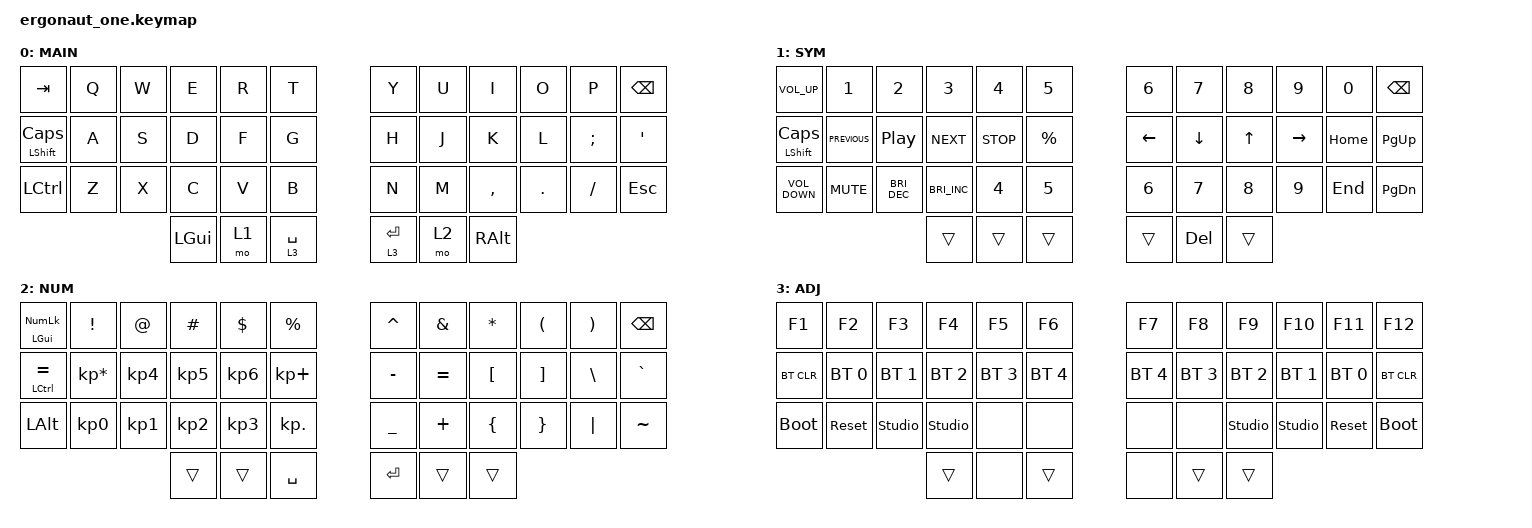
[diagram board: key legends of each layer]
#include <behaviors.dtsi>
#include <dt-bindings/zmk/bt.h>
#include <dt-bindings/zmk/keys.h>

#define DEF 0
#define LWR 1
#define RSE 2
#define ADJ 3

&lt { quick-tap-ms = <200>; };

&mt { quick-tap-ms = <200>; };

/ {
    conditional_layers { compatible = "zmk,conditional-layers"; };

    keymap {
        compatible = "zmk,keymap";

        default_layer {
            display-name = "MAIN";
            bindings = <
&kp TAB              &kp Q  &kp W  &kp E     &kp R  &kp T        &kp Y        &kp U  &kp I      &kp O    &kp P     &kp BSPC
&mt LEFT_SHIFT CLCK  &kp A  &kp S  &kp D     &kp F  &kp G        &kp H        &kp J  &kp K      &kp L    &kp SEMI  &kp SQT
&kp LCTRL            &kp Z  &kp X  &kp C     &kp V  &kp B        &kp N        &kp M  &kp COMMA  &kp DOT  &kp FSLH  &kp ESCAPE
                                   &kp LGUI  &mo 1  &lt 3 SPACE  &lt 3 ENTER  &mo 2  &kp RALT
            >;
        };

        lower_layer {
            display-name = "SYM";
            bindings = <
&kp K_VOLUME_UP      &kp NUMBER_1    &kp NUMBER_2          &kp NUMBER_3          &kp NUMBER_4  &kp NUMBER_5  &kp NUMBER_6  &kp NUMBER_7    &kp NUMBER_8  &kp NUMBER_9  &kp NUMBER_0  &kp BSPC
&mt LEFT_SHIFT CAPS  &kp C_PREVIOUS  &kp C_PLAY_PAUSE      &kp C_NEXT            &kp C_STOP    &kp PRCNT     &kp LEFT      &kp DOWN_ARROW  &kp UP_ARROW  &kp RIGHT     &kp HOME      &kp PG_UP
&kp K_VOLUME_DOWN    &kp K_MUTE      &kp C_BRIGHTNESS_DEC  &kp C_BRIGHTNESS_INC  &kp N4        &kp N5        &kp N6        &kp N7          &kp N8        &kp N9        &kp END       &kp PAGE_DOWN
                                                           &trans                &trans        &trans        &trans        &kp DEL         &trans
            >;
        };

        raise_layer {
            display-name = "NUM";
            bindings = <
&mt LGUI KP_NUM  &kp EXCL         &kp AT     &kp HASH   &kp DOLLAR  &kp PERCENT  &kp CARET  &kp AMPS   &kp ASTRK         &kp LEFT_PARENTHESIS  &kp RIGHT_PARENTHESIS  &kp BACKSPACE
&mt LCTRL EQUAL  &kp KP_MULTIPLY  &kp KP_N4  &kp KP_N5  &kp KP_N6   &kp KP_PLUS  &kp MINUS  &kp EQUAL  &kp LEFT_BRACKET  &kp RIGHT_BRACKET     &kp BACKSLASH          &kp GRAVE
&kp LALT         &kp KP_N0        &kp KP_N1  &kp KP_N2  &kp KP_N3   &kp KP_DOT   &kp UNDER  &kp PLUS   &kp LEFT_BRACE    &kp RIGHT_BRACE       &kp PIPE               &kp TILDE
                                             &trans     &trans      &kp SPACE    &kp RET    &trans     &trans
            >;
        };

        adjust_layer {
            display-name = "ADJ";
            bindings = <
&kp F1       &kp F2        &kp F3          &kp F4          &kp F5        &kp F6        &kp F7        &kp F8        &kp F9          &kp F10         &kp F11       &kp F12
&bt BT_CLR   &bt BT_SEL 0  &bt BT_SEL 1    &bt BT_SEL 2    &bt BT_SEL 3  &bt BT_SEL 4  &bt BT_SEL 4  &bt BT_SEL 3  &bt BT_SEL 2    &bt BT_SEL 1    &bt BT_SEL 0  &bt BT_CLR
&bootloader  &sys_reset    &studio_unlock  &studio_unlock  &none         &none         &none         &none         &studio_unlock  &studio_unlock  &sys_reset    &bootloader
                                           &trans          &none         &trans        &none         &trans        &trans
            >;
        };
    };
};
